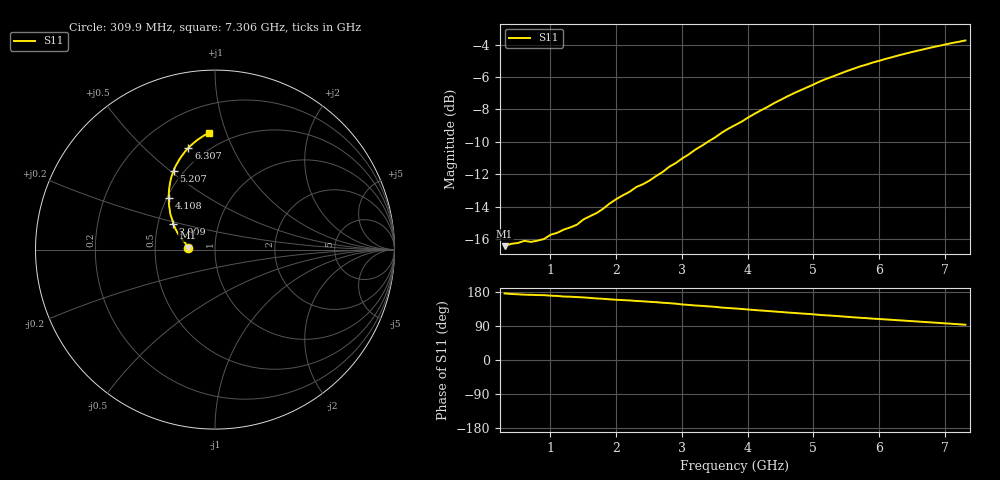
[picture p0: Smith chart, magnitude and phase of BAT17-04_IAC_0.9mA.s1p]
! Infineon Technologies  Discrete & RF Semiconductors
! BAT17-04
! IAC = 0.9 mA
! One-Port S-Parameters
# Hz  S  MA  R  50
!f  S11
!Hz  Mag  Ang
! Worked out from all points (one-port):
!   71 points, 309.9 MHz to 7.306 GHz, reference 50 ohm
!   lowest |S11| = -16.4 dB at 309.9 MHz (marker M1), VSWR 1.35, Z = 36.9 + j0.853 ohm
!   |S11| at or under -10 dB: start of sweep to 3.394 GHz
!   S11 on the Smith chart (normalised r, x): 309.9 MHz: 0.74, +0.02; 2.909 GHz: 0.60, +0.18; 4.108 GHz: 0.51, +0.35; 5.207 GHz: 0.44, +0.51; 6.307 GHz: 0.40, +0.69; 7.306 GHz: 0.39, +0.87
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3.0985e8  0.1507 175.7
6.097e8  0.1565 172.3
7.0965e8  0.1554 172.0
9.0955e8  0.1586 171.1
1.0095e9  0.1635 169.8
1.2094e9  0.1695 167.4
1.4093e9  0.1756 166.0
1.50925e9  0.1823 165.1
1.70915e9  0.1908 162.4
1.90905e9  0.2043 160.1
2.10895e9  0.2165 158.0
2.50875e9  0.2401 153.6
2.6087e9  0.2479 152.6
2.90855e9  0.272 148.6
3.0085e9  0.2813 146.5
3.50825e9  0.3266 140.2
3.6082e9  0.3376 138.3
3.8081e9  0.3562 136.0
4.10795e9  0.3864 131.8
4.70765e9  0.4474 124.1
5.2074e9  0.496 117.7
5.4073e9  0.5139 115.4
5.6072e9  0.5318 112.6
5.90705e9  0.5565 109.1
6.30685e9  0.5859 104.7
6.50675e9  0.5998 102.4
6.8066e9  0.6197 99.0
7.30635e9  0.6503 93.0
